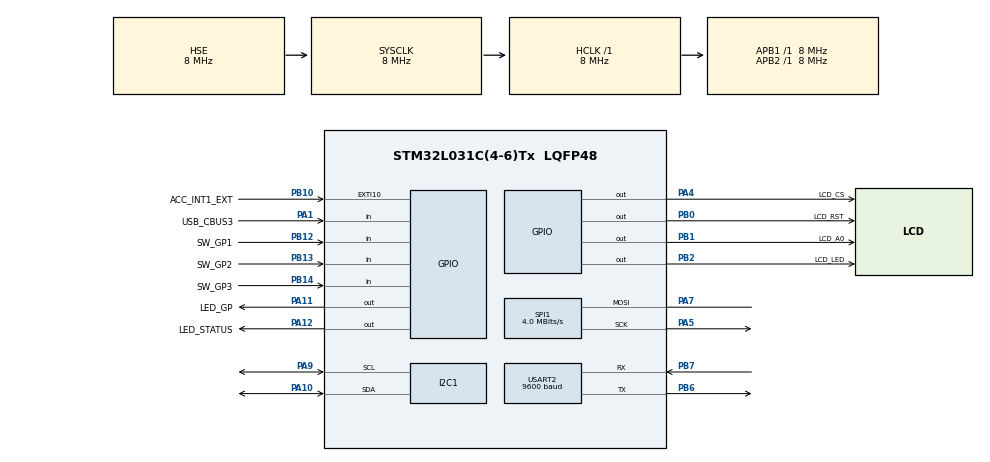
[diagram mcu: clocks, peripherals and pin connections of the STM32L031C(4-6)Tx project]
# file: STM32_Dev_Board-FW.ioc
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Mcu.Family=STM32L0
RCC.MSI_VALUE=2097000
PH0-OSC_IN.Signal=RCC_OSC_IN
PA7.Mode=Simplex_Bidirectional_Master
PA10.Mode=I2C
SPI1.VirtualType=VM_MASTER
PB14.GPIO_Label=SW_GP3
PA11.GPIO_Label=LED_GP
PB0.GPIO_Label=LCD_RST
PB13.GPIO_Label=SW_GP2
PB13.Signal=GPIO_Input
USART2.BaudRate=9600
PA12.GPIO_Label=LED_STATUS
RCC.SYSCLKSource=RCC_SYSCLKSOURCE_HSE
ProjectManager.StackSize=0x400
PA13.Signal=SYS_SWDIO
RCC.HSI16_VALUE=16000000
PA9.Mode=I2C
PA12.Signal=GPIO_Output
ProjectManager.TargetToolchain=STM32CubeIDE
PB10.GPIO_Label=ACC_INT1_EXT
SPI1.Direction=SPI_DIRECTION_1LINE
RCC.HCLKFreq_Value=8000000
RCC.APB2TimFreq_Value=8000000
PA9.Signal=I2C1_SCL
PB6.Signal=USART2_TX
I2C1.Timing=0x2000090E
PB6.Mode=Asynchronous
SPI1.CalculateBaudRate=4.0 MBits/s
RCC.LSE_VALUE=32768
PA1.Signal=GPIO_Input
RCC.AHBFreq_Value=8000000
PH0-OSC_IN.Mode=HSE-External-Oscillator
PB10.Signal=GPXTI10
PB14.Signal=GPIO_Input
PA5.Signal=SPI1_SCK
RCC.HSE_VALUE=8000000
PB2.Signal=GPIO_Output
board=custom
USART2.VirtualMode-Asynchronous=VM_ASYNC
RCC.VCOOutputFreq_Value=48000000
PB12.GPIO_Label=SW_GP1
RCC.APB2Freq_Value=8000000
SPI1.Mode=SPI_MODE_MASTER
PA14.Mode=Serial_Wire
PB1.GPIO_Label=LCD_A0
PA1.GPIO_Label=USB_CBUS3
PH1-OSC_OUT.Signal=RCC_OSC_OUT
PB7.Signal=USART2_RX
PA13.Mode=Serial_Wire
PB10.GPIO_ModeDefaultEXTI=GPIO_MODE_IT_RISING
Mcu.Name=STM32L031C(4-6)Tx
PH1-OSC_OUT.Mode=HSE-External-Oscillator
PA4.Signal=GPIO_Output
RCC.SYSCLKFreq_VALUE=8000000
Mcu.Package=LQFP48
PB1.Signal=GPIO_Output
PA11.Signal=GPIO_Output
PB7.Mode=Asynchronous
PA10.Signal=I2C1_SDA
PA14.Signal=SYS_SWCLK
PB2.GPIO_Label=LCD_LED
ProjectManager.HeapSize=0x200
RCC.HSI_VALUE=16000000
RCC.APB1TimFreq_Value=8000000
RCC.APB1Freq_Value=8000000
PB0.Signal=GPIO_Output
PA4.GPIO_Label=LCD_CS
PB12.Signal=GPIO_Input
NVIC.EXTI4_15_IRQn=true\:0\:0\:false\:false\:true\:true\:true
PA5.Mode=Simplex_Bidirectional_Master
PA7.Signal=SPI1_MOSI

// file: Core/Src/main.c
/* USER CODE BEGIN Header */
/**
  ******************************************************************************
  * @file           : main.c
  * @brief          : Main program body
  ******************************************************************************
  * @attention
  *
  * <h2><center>&copy; Copyright (c) 2021 STMicroelectronics.
  * All rights reserved.</center></h2>
  *
  * This software component is licensed by ST under BSD 3-Clause license,
  * the "License"; You may not use this file except in compliance with the
  * License. You may obtain a copy of the License at:
  *                        opensource.org/licenses/BSD-3-Clause
  *
  ******************************************************************************
  */
/* USER CODE END Header */
#include "main.h"

/* USER CODE BEGIN Includes */
#include "LIS2HH12.h"
/* USER CODE END Includes */

I2C_HandleTypeDef hi2c1;

SPI_HandleTypeDef hspi1;

UART_HandleTypeDef huart2;

/* USER CODE BEGIN PV */
LIS2HH12 acc;
uint8_t acc_data_ready;
/* USER CODE END PV */

void SystemClock_Config(void);
static void MX_GPIO_Init(void);
static void MX_I2C1_Init(void);
static void MX_SPI1_Init(void);
static void MX_USART2_UART_Init(void);

/* USER CODE BEGIN 0 */
void HAL_GPIO_EXTI_Callback(uint16_t GPIO_Pin)
{
	if (GPIO_Pin == GPIO_PIN_10) {
		acc_data_ready = 1;
	}
}
/* USER CODE END 0 */

int main(void)
{

  /* MCU Configuration--------------------------------------------------------*/

  /* Reset of all peripherals, Initializes the Flash interface and the Systick. */
  HAL_Init();

  /* Configure the system clock */
  SystemClock_Config();

  /* Initialize all configured peripherals */
  MX_GPIO_Init();
  MX_I2C1_Init();
  MX_SPI1_Init();
  MX_USART2_UART_Init();
  /* USER CODE BEGIN 2 */
  // TODO: Context switch code

  // Initialize accelerometer
  LIS2HH12_Initialize(&acc, &hi2c1);

  // Set priorities
  NVIC_SetPriority(PendSV_IRQn, 0xFF); // Lowest priority
  NVIC_SetPriority(SysTick_IRQn, 0x00); // Highest priority

  uint32_t ret_val = SysTick_Config(SystemCoreClock);

  // Pull CBUS3 low for Keep_Awake# setting on FTDI chip
  HAL_GPIO_WritePin(GPIOA, GPIO_PIN_1, GPIO_PIN_RESET);
  /* USER CODE END 2 */

  /* Infinite loop */
  /* USER CODE BEGIN WHILE */
  acc_data_ready = 0;
  while (1)
  {
	  // Read accelerometer data
	  if (acc_data_ready) {
		  LIS2HH12_ReadOrientation(&acc);
		  acc_data_ready = 0;
	  }

	  // Poll button 1 press and power blue LED accordingly
	  if (HAL_GPIO_ReadPin(GPIOB, GPIO_PIN_14)) {
		  HAL_GPIO_TogglePin(GPIOA, GPIO_PIN_12);
	  }

	  // Transmit test msg over UART on button 2 press
	  if (HAL_GPIO_ReadPin(GPIOA, GPIO_PIN_1)) {
		  HAL_UART_Transmit(&huart2, "TESTING", 8, 100);
	  }
  }
  /* USER CODE END WHILE */
}

void SystemClock_Config(void)
{
  RCC_OscInitTypeDef RCC_OscInitStruct = {0};
  RCC_ClkInitTypeDef RCC_ClkInitStruct = {0};
  RCC_PeriphCLKInitTypeDef PeriphClkInit = {0};

  /** Configure the main internal regulator output voltage
  */
  __HAL_PWR_VOLTAGESCALING_CONFIG(PWR_REGULATOR_VOLTAGE_SCALE1);
  /** Initializes the RCC Oscillators according to the specified parameters
  * in the RCC_OscInitTypeDef structure.
  */
  RCC_OscInitStruct.OscillatorType = RCC_OSCILLATORTYPE_HSE;
  RCC_OscInitStruct.HSEState = RCC_HSE_ON;
  RCC_OscInitStruct.PLL.PLLState = RCC_PLL_NONE;
  if (HAL_RCC_OscConfig(&RCC_OscInitStruct) != HAL_OK)
  {
    Error_Handler();
  }
  /** Initializes the CPU, AHB and APB buses clocks
  */
  RCC_ClkInitStruct.ClockType = RCC_CLOCKTYPE_HCLK|RCC_CLOCKTYPE_SYSCLK
                              |RCC_CLOCKTYPE_PCLK1|RCC_CLOCKTYPE_PCLK2;
  RCC_ClkInitStruct.SYSCLKSource = RCC_SYSCLKSOURCE_HSE;
  RCC_ClkInitStruct.AHBCLKDivider = RCC_SYSCLK_DIV1;
  RCC_ClkInitStruct.APB1CLKDivider = RCC_HCLK_DIV1;
  RCC_ClkInitStruct.APB2CLKDivider = RCC_HCLK_DIV1;

  if (HAL_RCC_ClockConfig(&RCC_ClkInitStruct, FLASH_LATENCY_0) != HAL_OK)
  {
    Error_Handler();
  }
  PeriphClkInit.PeriphClockSelection = RCC_PERIPHCLK_USART2|RCC_PERIPHCLK_I2C1;
  PeriphClkInit.Usart2ClockSelection = RCC_USART2CLKSOURCE_PCLK1;
  PeriphClkInit.I2c1ClockSelection = RCC_I2C1CLKSOURCE_PCLK1;
  if (HAL_RCCEx_PeriphCLKConfig(&PeriphClkInit) != HAL_OK)
  {
    Error_Handler();
  }
}

static void MX_I2C1_Init(void)
{

  hi2c1.Instance = I2C1;
  hi2c1.Init.Timing = 0x2000090E;
  hi2c1.Init.OwnAddress1 = 0;
  hi2c1.Init.AddressingMode = I2C_ADDRESSINGMODE_7BIT;
  hi2c1.Init.DualAddressMode = I2C_DUALADDRESS_DISABLE;
  hi2c1.Init.OwnAddress2 = 0;
  hi2c1.Init.OwnAddress2Masks = I2C_OA2_NOMASK;
  hi2c1.Init.GeneralCallMode = I2C_GENERALCALL_DISABLE;
  hi2c1.Init.NoStretchMode = I2C_NOSTRETCH_DISABLE;
  if (HAL_I2C_Init(&hi2c1) != HAL_OK)
  {
    Error_Handler();
  }
  /** Configure Analogue filter
  */
  if (HAL_I2CEx_ConfigAnalogFilter(&hi2c1, I2C_ANALOGFILTER_ENABLE) != HAL_OK)
  {
    Error_Handler();
  }
  /** Configure Digital filter
  */
  if (HAL_I2CEx_ConfigDigitalFilter(&hi2c1, 0) != HAL_OK)
  {
    Error_Handler();
  }

}

static void MX_SPI1_Init(void)
{

  /* SPI1 parameter configuration*/
  hspi1.Instance = SPI1;
  hspi1.Init.Mode = SPI_MODE_MASTER;
  hspi1.Init.Direction = SPI_DIRECTION_1LINE;
  hspi1.Init.DataSize = SPI_DATASIZE_8BIT;
  hspi1.Init.CLKPolarity = SPI_POLARITY_LOW;
  hspi1.Init.CLKPhase = SPI_PHASE_1EDGE;
  hspi1.Init.NSS = SPI_NSS_SOFT;
  hspi1.Init.BaudRatePrescaler = SPI_BAUDRATEPRESCALER_2;
  hspi1.Init.FirstBit = SPI_FIRSTBIT_MSB;
  hspi1.Init.TIMode = SPI_TIMODE_DISABLE;
  hspi1.Init.CRCCalculation = SPI_CRCCALCULATION_DISABLE;
  hspi1.Init.CRCPolynomial = 7;
  if (HAL_SPI_Init(&hspi1) != HAL_OK)
  {
    Error_Handler();
  }

}

static void MX_USART2_UART_Init(void)
{

  huart2.Instance = USART2;
  huart2.Init.BaudRate = 9600;
  huart2.Init.WordLength = UART_WORDLENGTH_8B;
  huart2.Init.StopBits = UART_STOPBITS_1;
  huart2.Init.Parity = UART_PARITY_NONE;
  huart2.Init.Mode = UART_MODE_TX_RX;
  huart2.Init.HwFlowCtl = UART_HWCONTROL_NONE;
  huart2.Init.OverSampling = UART_OVERSAMPLING_16;
  huart2.Init.OneBitSampling = UART_ONE_BIT_SAMPLE_DISABLE;
  huart2.AdvancedInit.AdvFeatureInit = UART_ADVFEATURE_NO_INIT;
  if (HAL_UART_Init(&huart2) != HAL_OK)
  {
    Error_Handler();
  }

}

static void MX_GPIO_Init(void)
{
  GPIO_InitTypeDef GPIO_InitStruct = {0};

  /* GPIO Ports Clock Enable */
  __HAL_RCC_GPIOH_CLK_ENABLE();
  __HAL_RCC_GPIOA_CLK_ENABLE();
  __HAL_RCC_GPIOB_CLK_ENABLE();

  /*Configure GPIO pin Output Level */
  HAL_GPIO_WritePin(GPIOA, LCD_CS_Pin|LED_GP_Pin|LED_STATUS_Pin, GPIO_PIN_RESET);

  /*Configure GPIO pin Output Level */
  HAL_GPIO_WritePin(GPIOB, LCD_RST_Pin|LCD_A0_Pin|LCD_LED_Pin, GPIO_PIN_RESET);

  /*Configure GPIO pin : USB_CBUS3_Pin */
  GPIO_InitStruct.Pin = USB_CBUS3_Pin;
  GPIO_InitStruct.Mode = GPIO_MODE_INPUT;
  GPIO_InitStruct.Pull = GPIO_NOPULL;
  HAL_GPIO_Init(USB_CBUS3_GPIO_Port, &GPIO_InitStruct);

  /*Configure GPIO pins : LCD_CS_Pin LED_GP_Pin LED_STATUS_Pin */
  GPIO_InitStruct.Pin = LCD_CS_Pin|LED_GP_Pin|LED_STATUS_Pin;
  GPIO_InitStruct.Mode = GPIO_MODE_OUTPUT_PP;
  GPIO_InitStruct.Pull = GPIO_NOPULL;
  GPIO_InitStruct.Speed = GPIO_SPEED_FREQ_LOW;
  HAL_GPIO_Init(GPIOA, &GPIO_InitStruct);

  /*Configure GPIO pins : LCD_RST_Pin LCD_A0_Pin LCD_LED_Pin */
  GPIO_InitStruct.Pin = LCD_RST_Pin|LCD_A0_Pin|LCD_LED_Pin;
  GPIO_InitStruct.Mode = GPIO_MODE_OUTPUT_PP;
  GPIO_InitStruct.Pull = GPIO_NOPULL;
  GPIO_InitStruct.Speed = GPIO_SPEED_FREQ_LOW;
  HAL_GPIO_Init(GPIOB, &GPIO_InitStruct);

  /*Configure GPIO pin : ACC_INT1_EXT_Pin */
  GPIO_InitStruct.Pin = ACC_INT1_EXT_Pin;
  GPIO_InitStruct.Mode = GPIO_MODE_IT_RISING;
  GPIO_InitStruct.Pull = GPIO_NOPULL;
  HAL_GPIO_Init(ACC_INT1_EXT_GPIO_Port, &GPIO_InitStruct);

  /*Configure GPIO pins : SW_GP1_Pin SW_GP2_Pin SW_GP3_Pin */
  GPIO_InitStruct.Pin = SW_GP1_Pin|SW_GP2_Pin|SW_GP3_Pin;
  GPIO_InitStruct.Mode = GPIO_MODE_INPUT;
  GPIO_InitStruct.Pull = GPIO_NOPULL;
  HAL_GPIO_Init(GPIOB, &GPIO_InitStruct);

  /* EXTI interrupt init*/
  HAL_NVIC_SetPriority(EXTI4_15_IRQn, 0, 0);
  HAL_NVIC_EnableIRQ(EXTI4_15_IRQn);

}

void Error_Handler(void)
{
  __disable_irq();
  while (1)
  {
  }
}

/************************ (C) COPYRIGHT STMicroelectronics *****END OF FILE****/
